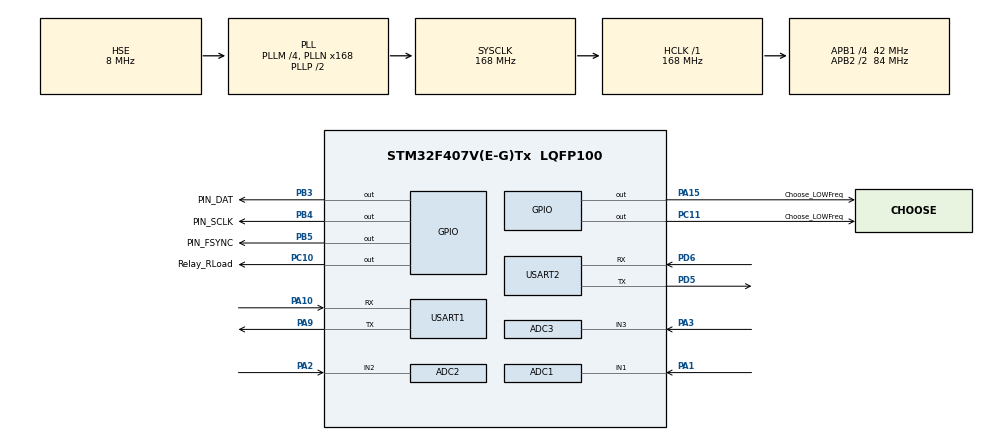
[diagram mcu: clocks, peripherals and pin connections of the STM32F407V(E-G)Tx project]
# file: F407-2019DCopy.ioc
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Mcu.Family=STM32F4
Dma.ADC2.2.FIFOMode=DMA_FIFOMODE_DISABLE
ADC2.ExternalTrigConv=ADC_EXTERNALTRIGCONV_T2_TRGO
PH0-OSC_IN.Signal=RCC_OSC_IN
Dma.ADC2.2.Priority=DMA_PRIORITY_MEDIUM
RCC.CortexFreq_Value=168000000
ADC1.ContinuousConvMode=DISABLE
ADC2.Channel-0\#ChannelRegularConversion=ADC_CHANNEL_2
SH.ADCx_IN2.0=ADC2_IN2,IN2
PC10.Signal=GPIO_Output
ADC3.Channel-0\#ChannelRegularConversion=ADC_CHANNEL_3
RCC.SYSCLKSource=RCC_SYSCLKSOURCE_PLLCLK
ProjectManager.StackSize=0x400
Dma.ADC3.1.PeriphDataAlignment=DMA_PDATAALIGN_HALFWORD
PA15.GPIO_Label=Choose_LOWFreq
PB3.PinState=GPIO_PIN_SET
RCC.HCLKFreq_Value=168000000
SH.ADCx_IN3.0=ADC3_IN3,IN3
RCC.APB2TimFreq_Value=168000000
Dma.ADC1.0.Direction=DMA_PERIPH_TO_MEMORY
PB5.PinState=GPIO_PIN_SET
NVIC.DMA2_Stream0_IRQn=true\:0\:0\:false\:false\:true\:false\:true
Dma.ADC1.0.MemDataAlignment=DMA_MDATAALIGN_HALFWORD
RCC.AHBFreq_Value=168000000
PH0-OSC_IN.Mode=HSE-External-Oscillator
PD5.Mode=Asynchronous
ADC1.Channel-0\#ChannelRegularConversion=ADC_CHANNEL_1
RCC.HSE_VALUE=8000000
ADC3.ExternalTrigConv=ADC_EXTERNALTRIGCONV_T2_TRGO
PC14-OSC32_IN.Mode=LSE-External-Oscillator
PA14.Mode=Serial_Wire
Dma.ADC1.0.PeriphInc=DMA_PINC_DISABLE
PC11.GPIO_Label=Choose_LOWFreq
Dma.ADC2.2.Instance=DMA2_Stream2
ADC1.SamplingTime-0\#ChannelRegularConversion=ADC_SAMPLETIME_3CYCLES
PH1-OSC_OUT.Mode=HSE-External-Oscillator
Mcu.Package=LQFP100
Dma.ADC3.1.Direction=DMA_PERIPH_TO_MEMORY
Dma.ADC2.2.PeriphInc=DMA_PINC_DISABLE
USART2.VirtualMode=VM_ASYNC
Dma.ADC2.2.MemDataAlignment=DMA_MDATAALIGN_HALFWORD
ADC3.Rank-0\#ChannelRegularConversion=1
PA10.Signal=USART1_RX
PA15.Signal=GPIO_Output
ADC2.SamplingTime-0\#ChannelRegularConversion=ADC_SAMPLETIME_3CYCLES
ADC3.ClockPrescaler=ADC_CLOCK_SYNC_PCLK_DIV4
TIM2.TIM_MasterOutputTrigger=TIM_TRGO_UPDATE
RCC.APB2CLKDivider=RCC_HCLK_DIV2
SH.ADCx_IN1.0=ADC1_IN1,IN1
NVIC.DMA2_Stream2_IRQn=true\:0\:0\:false\:false\:true\:false\:true
PB5.GPIO_Label=PIN_FSYNC
Dma.Request2=ADC2
Dma.ADC2.2.MemInc=DMA_MINC_ENABLE
Dma.Request1=ADC3
RCC.APB1TimFreq_Value=84000000
Dma.ADC1.0.FIFOMode=DMA_FIFOMODE_DISABLE
ADC2.Rank-0\#ChannelRegularConversion=1
Dma.ADC2.2.PeriphDataAlignment=DMA_PDATAALIGN_HALFWORD
PD6.Signal=USART2_RX
Dma.Request0=ADC1
PB4.PinState=GPIO_PIN_SET
Dma.ADC3.1.Priority=DMA_PRIORITY_LOW
PB4.Signal=GPIO_Output
PA3.Signal=ADCx_IN3
PB3.GPIO_Label=PIN_DAT
ADC2.ClockPrescaler=ADC_CLOCK_SYNC_PCLK_DIV4
RCC.PLLSourceVirtual=RCC_PLLSOURCE_HSE
PC15-OSC32_OUT.Mode=LSE-External-Oscillator
Dma.ADC1.0.Instance=DMA2_Stream0
ADC1.Rank-0\#ChannelRegularConversion=1
PA10.Mode=Asynchronous
PC10.GPIO_Label=Relay_RLoad
PC11.Signal=GPIO_Output
PD5.Signal=USART2_TX
NVIC.DMA2_Stream1_IRQn=true\:0\:0\:false\:false\:true\:false\:true
RCC.APB1CLKDivider=RCC_HCLK_DIV4
PC14-OSC32_IN.Signal=RCC_OSC32_IN
PD6.Mode=Asynchronous
NVIC.USART2_IRQn=true\:0\:0\:false\:false\:true\:true\:true
PA13.Signal=SYS_JTMS-SWDIO
Dma.ADC1.0.PeriphDataAlignment=DMA_PDATAALIGN_HALFWORD
PA9.Mode=Asynchronous
ADC3.SamplingTime-0\#ChannelRegularConversion=ADC_SAMPLETIME_3CYCLES
ProjectManager.TargetToolchain=STM32CubeIDE
Dma.ADC1.0.Mode=DMA_NORMAL
Dma.ADC1.0.Priority=DMA_PRIORITY_HIGH
PA9.Signal=USART1_TX
Dma.ADC3.1.FIFOMode=DMA_FIFOMODE_DISABLE
PC15-OSC32_OUT.Signal=RCC_OSC32_OUT
PA1.Signal=ADCx_IN1
Dma.ADC3.1.Instance=DMA2_Stream1
board=custom
RCC.VCOOutputFreq_Value=336000000
RCC.APB2Freq_Value=84000000
PB4.GPIO_Label=PIN_SCLK
VP_TIM2_VS_ClockSourceINT.Mode=Internal
Dma.ADC2.2.Direction=DMA_PERIPH_TO_MEMORY
Dma.ADC3.1.MemDataAlignment=DMA_MDATAALIGN_HALFWORD
PH1-OSC_OUT.Signal=RCC_OSC_OUT
Dma.ADC3.1.MemInc=DMA_MINC_ENABLE
Dma.ADC3.1.PeriphInc=DMA_PINC_DISABLE
TIM2.Period=83
ADC1.NbrOfConversion=1
PA13.Mode=Serial_Wire
Dma.ADC3.1.Mode=DMA_NORMAL
Mcu.Name=STM32F407V(E-G)Tx
PA2.Signal=ADCx_IN2
ADC1.ExternalTrigConv=ADC_EXTERNALTRIGCONV_T2_TRGO
RCC.48MHZClocksFreq_Value=84000000
Dma.ADC2.2.Mode=DMA_NORMAL
PB3.Signal=GPIO_Output
RCC.SYSCLKFreq_VALUE=168000000
PB5.Signal=GPIO_Output
ADC1.master=1
ADC2.NbrOfConversionFlag=1
USART1.VirtualMode=VM_ASYNC
PA14.Signal=SYS_JTCK-SWCLK
Dma.ADC1.0.MemInc=DMA_MINC_ENABLE
ProjectManager.HeapSize=0x200
RCC.HSI_VALUE=16000000
NVIC.PriorityGroup=NVIC_PRIORITYGROUP_4
ADC1.NbrOfConversionFlag=1
RCC.PLLM=4
RCC.PLLN=168
TIM2.AutoReloadPreload=TIM_AUTORELOAD_PRELOAD_ENABLE
RCC.APB1Freq_Value=42000000
ADC3.NbrOfConversionFlag=1
ADC1.ClockPrescaler=ADC_CLOCK_SYNC_PCLK_DIV4

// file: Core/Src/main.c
/* USER CODE BEGIN Header */
/**
  ******************************************************************************
  * @file           : main.c
  * @brief          : Main program body
  ******************************************************************************
  * @attention
  *
  * <h2><center>&copy; Copyright (c) 2021 STMicroelectronics.
  * All rights reserved.</center></h2>
  *
  * This software component is licensed by ST under BSD 3-Clause license,
  * the "License"; You may not use this file except in compliance with the
  * License. You may obtain a copy of the License at:
  *                        opensource.org/licenses/BSD-3-Clause
  *
  ******************************************************************************
  */
/* USER CODE END Header */
#include "main.h"
#include "adc.h"
#include "dma.h"
#include "tim.h"
#include "usart.h"
#include "gpio.h"

/* USER CODE BEGIN Includes */
#include "ad9833.h"
#include "hmi.h"
#include <stdio.h>
#include <stdlib.h>
#include <math.h>
/* USER CODE END Includes */

/* USER CODE BEGIN PTD */

//ADC1 CH1 PA1
//ADC2 CH2 PA2
//ADC3 CH3 PA3
//usart1 PA9  PA10

/* USER CODE END PTD */

/* USER CODE BEGIN PV */
//extern DMA_HandleTypeDef hdma_adc1;
int flag_adc = 0;
struct adc_val {
	float maxx;
	float minn;
	float vpp;
	float ADCf[256];
	uint16_t ADCb[256];
} adc1, adc2, adc3off, adc3on;

float RL = 1963;
float gain1 = 0.0527, gain2 = 0.0579, gain3off = 5.1009, gain3on = 5.0885;

float Uin1, Uin2;
float Uo3AC, Uo3DC;
float Uo3ACRL;
unsigned int Rin, Rout, Gain;
int judgement=2, jud=8;
int divide;
/* USER CODE END PV */

void SystemClock_Config(void);
/* USER CODE BEGIN PFP */
void init_adc_val(uint8_t);
/* USER CODE END PFP */

/* USER CODE BEGIN 0 */

void get_vpp(int flag)
{
	init_adc_val(flag);
  switch (flag)
	{
		case 1:  //U1
		{
			HAL_ADC_Start_DMA(&hadc1,(uint32_t *)adc1.ADCb,256);
			while(!flag_adc)
			{
			}
			flag_adc = 0;
			for(uint16_t i=0;i<256;i++)
			{
				adc1.ADCf[i]=(float)(adc1.ADCb[i])/(float)(4096.0)*3;
				adc1.maxx = (adc1.maxx>adc1.ADCf[i]? adc1.maxx : adc1.ADCf[i]);
				adc1.minn = (adc1.minn<adc1.ADCf[i]? adc1.minn : adc1.ADCf[i]);
			}
			adc1.vpp=adc1.maxx-adc1.minn;
			break;
		}

		case 2: //U2
		{
			HAL_ADC_Start_DMA(&hadc2,(uint32_t *)adc2.ADCb,256);
						while(!flag_adc)
						{
						}
						flag_adc = 0;
			for(uint16_t i=0;i<256;i++)
			{
				adc2.ADCf[i]=(float)(adc2.ADCb[i])/(float)(4096.0)*3;
				adc2.maxx = (adc2.maxx>adc2.ADCf[i]? adc2.maxx : adc2.ADCf[i]);
				adc2.minn = (adc2.minn<adc2.ADCf[i]? adc2.minn : adc2.ADCf[i]);
			}
			adc2.vpp=adc2.maxx-adc2.minn;
			break;
		}

		case 3: //U3off
		{
			HAL_ADC_Start_DMA(&hadc3,(uint32_t *)adc3off.ADCb,256);
						while(!flag_adc)
						{
						}
						flag_adc = 0;
			for(uint16_t i=0;i<256;i++)
			{
				adc3off.ADCf[i]=(float)(adc3off.ADCb[i])/(float)(4096.0)*3;
				adc3off.maxx = (adc3off.maxx>adc3off.ADCf[i]? adc3off.maxx : adc3off.ADCf[i]);
				adc3off.minn = (adc3off.minn<adc3off.ADCf[i]? adc3off.minn : adc3off.ADCf[i]);
			}
			adc3off.vpp=adc3off.maxx-adc3off.minn;
			break;
		}

		case 4: //U3on
		{
			HAL_ADC_Start_DMA(&hadc3,(uint32_t *)adc3on.ADCb,256);
						while(!flag_adc)
						{
						}
						flag_adc = 0;
			for(uint16_t i=0;i<256;i++)
			{
				adc3on.ADCf[i]=(float)(adc3on.ADCb[i])/(float)(4096.0)*3;
				adc3on.maxx = (adc3on.maxx>adc3on.ADCf[i]? adc3on.maxx : adc3on.ADCf[i]);
				adc3on.minn = (adc3on.minn<adc3on.ADCf[i]? adc3on.minn : adc3on.ADCf[i]);
			}
			adc3on.vpp=adc3on.maxx-adc3on.minn;
			break;
		}
	}
	 return;
}

void HAL_ADC_ConvCpltCallback(ADC_HandleTypeDef* hadc)
{
	flag_adc = 1;
}//传输完成中断

void init_adc_val(uint8_t flag)
{
	switch(flag)
	{
		case 1:
			adc1.maxx = 0;
			adc1.minn = 999;
			break;
		case 2:
			adc2.maxx = 0;
			adc2.minn = 999;
			break;
		case 3:
			adc3off.maxx = 0;
			adc3off.minn = 999;
			break;
		case 4:
			adc3on.maxx = 0;
			adc3on.minn = 999;
			break;
	}
	return;
}

void getTrueADCResult(void)
{
	Uin1 = gain1 * adc1.vpp;
	Uin2 = gain2 * adc2.vpp;
	Uo3AC = gain3off * adc3off.vpp;
	Uo3DC = gain3off * adc3off.maxx - Uo3AC / 2;
	Uo3ACRL = gain3on * adc3on.vpp;
}

void getRinAndRoutAndGainResult(void)
{
	Rin = Uin2 / (Uin1 - Uin2) * 7500;
	Rout = (Uo3AC - Uo3ACRL) / Uo3ACRL * RL;
	Gain = Uo3AC / Uin2;
}

void getDetectNeed(void)
{
	Uo3AC = gain3off * adc3off.vpp;
	Uin1 = gain1 * adc1.vpp;
	Uin2 = gain2 * adc2.vpp;
	Uo3DC = gain3off * adc3off.maxx - Uo3AC / 2;
	Rin = Uin2 / (Uin1 - Uin2) * 7500;
}

void getScanNeed()
{
	Uin2 = gain2 * adc2.vpp;
	Uo3AC = gain3off * adc3off.vpp;
	Gain = Uo3AC / Uin2;
	}

void averageDetet()
{
	unsigned int aveRin = 0;
	const int cir = 1;
	for(uint8_t i = 0; i < cir; i++)
	{
		HAL_Delay(1000);
		get_vpp(1);
		get_vpp(2);
		get_vpp(3);
		getDetectNeed();
		aveRin+=Rin;
	}
	Rin = aveRin/cir;
}

void checkError()
{
	AD9833_WaveSeting(1000,0,SIN_WAVE,0 );
	HMI_Send("page Detect");
	HAL_TIM_Base_Stop(&htim2);
	TIM2->ARR = 4000;
	HAL_TIM_Base_Start(&htim2);
	HAL_Delay(1000);

	RLoad_UnCarry;
	get_vpp(1);
	get_vpp(2);
	get_vpp(3);

	getDetectNeed();
	HAL_Delay(1000);

	if (Uo3DC > 8 || Uo3DC < 7)
	{
		if (Rin > 13000) HMI_Send("t0.txt=\"R1 open\"");
		else if (Rin > 7000) HMI_Send("t0.txt=\"R4 open\"");
		else if (Rin > 2000) HMI_Send("t0.txt=\"R3 short\"");
		else if(Uo3DC > 11)
		{
			if(Rin > 200)	HMI_Send("t0.txt=\"R1 short\"");
			else	HMI_Send("t0.txt=\"R2 short\"");
		}
		else if(Uo3DC > 4)	HMI_Send("t0.txt=\"R2 open\"");
		else if(Rin > 185)	HMI_Send("t0.txt=\"R3 open\"");
		else HMI_Send("t0.txt=\"R4 short\"");
	}
	else if (Rin < 2700 || Rin > 3000)
	{
		if (Rin < 0 || Rin > 50000) HMI_Send("t0.txt=\"C1 open\"");
		else if(Rin > 7000)	HMI_Send("t0.txt=\"C2 open\"");
		else HMI_Send("t0.txt=\"C2 double\"");
	}
	else
	{
		AD9833_WaveSeting(300000,0,SIN_WAVE,0 );
		HAL_TIM_Base_Stop(&htim2);
		TIM2->ARR = 93;//200000   68
		HAL_TIM_Base_Start(&htim2);
//		get_vpp(1);
//		get_vpp(2);
//		get_vpp(3);
//		getDetectNeed();
		averageDetet();
		if (Rin < 1000)
		{
			AD9833_WaveSeting(30,0,SIN_WAVE,0 );
			HAL_TIM_Base_Stop(&htim2);
			TIM2->ARR = 300000;//
			HAL_TIM_Base_Start(&htim2);
//			get_vpp(1);
//			get_vpp(2);
//			get_vpp(3);
//			getDetectNeed();
			averageDetet();
			if (Rin > 9350)  HMI_Send("t0.txt=\"C3 open\"");
			else HMI_Send("t0.txt=\"C1 double\"");
		}
		else
		{
			HMI_Send("t0.txt=\"C3 double\"");
		}
	}
	HAL_Delay(2000);
}

void getvalue()
{
	  HAL_TIM_Base_Stop(&htim2);
	  TIM2->ARR = 4000;
	  HAL_TIM_Base_Start(&htim2);
	  AD9833_WaveSeting(1000,0,SIN_WAVE,0 );

	  RLoad_UnCarry;
	  HAL_Delay(2000);
	  get_vpp(1);
	  get_vpp(2);
	  get_vpp(3);

	  RLoad_Carry;
	  HAL_Delay(2000);
	  get_vpp(4);
	  getTrueADCResult();

	  getRinAndRoutAndGainResult();

	  //HAL_Delay(2000);

	  int Conv;
	  HMI_Send("page Character");
	  HAL_Delay(1000);

	  Conv = ceil(adc1.vpp);
	  HMI_Send("t0.txt=\"Uin1=%d\"",Conv);
	  HAL_Delay(1000);
	  Conv = ceil(adc2.vpp);
	  HMI_Send("t1.txt=\"Uin2=%d\"",Conv);
	  HAL_Delay(1000);
	  Conv = ceil(adc3off.vpp);
	  HMI_Send("t2.txt=\"Uo3AC=%d\"",Conv);
	  HAL_Delay(1000);
	  Conv =ceil(adc3on.vpp);
	  HMI_Send("t3.txt=\"Uo3ACRL=%d\"",Conv);
	  HAL_Delay(1000);
	  Conv =ceil(Uo3DC);
	  HMI_Send("t4.txt=\"Uo3DC=%d\"",Conv);
	  HAL_Delay(4000);

	  HMI_Send("t0.txt=\"Rin=%d\"",Rin);
	  HAL_Delay(1000);
	  HMI_Send("t1.txt=\"Rout=%d\"",Rout);
	  HAL_Delay(1000);
	  HMI_Send("t2.txt=\"Gain=%d\"",Gain);
	  HAL_Delay(4000);
}

void ScanFreq()
{
	int Freq=30, Conv, Max=0, n=0, array[200], dB, Freq_HIGH=30, i;
	HMI_Send("page Curve");//
	HMI_Send("cle 1,0");
	RLoad_UnCarry;
	 while(Freq<291000)
	 {
		 AD9833_WaveSeting(Freq,0,SIN_WAVE,0 );
		 HAL_TIM_Base_Stop(&htim2);
		 if(Freq<1000)
		 {
			 divide = 84000000/(10*Freq);
			 Freq+=100;
		 }//10
		 else if(Freq<100000)
		 {
		   divide = 84000000/(10*Freq);
		   Freq+=3000;
		 }//33
		 else if(Freq<160000)
		 {
			 divide = 84000000/(7*Freq);//7.3
			 Freq+=1000;
		 }//60
		 else if(Freq<200000)
		 {
			 divide = 84000000/(5.3*Freq);//6.5
			 Freq+=2000;
		 }//30
		 else if(Freq<240000)
		  {
		 	divide = 84000000/(4.6*Freq);
		 	Freq+=3000;
		 }//27
		 else
		 {
			 divide = 84000000/(4*Freq);
			 Freq+=3000;
		 }
		 TIM2->ARR = divide;
		 HAL_TIM_Base_Start(&htim2);
		 get_vpp(2);
		 get_vpp(3);
		 getScanNeed();
		 Conv = Gain;
		 Max = (Max > Conv? Max : Conv);
		 HMI_Send("add 1,0,%d",Conv);
		 array[n] = Conv;
		 n++;
	 }

	 dB = 0.707*Max;
	 for(i=0;i<n;i++)
	 {
		 if(i>0 && Freq_HIGH<1000)
			 Freq_HIGH+=100;
		 else if(Freq_HIGH<100000)
			 Freq_HIGH+=3000;
		 else if(Freq_HIGH<160000)
		 	 Freq_HIGH+=1000;
		 else if(Freq_HIGH<220000)
		 	 Freq_HIGH+=2000;
		 else if(Freq_HIGH<300000)
		 	 Freq_HIGH+=3000;
		 if((array[i]-dB)<1 && (array[i]-dB)>-1)
		 {
			 HMI_Send("x0.val=%d",Freq_HIGH);
			 break;
		 }
	 }

	 HAL_Delay(4000);

}

void HAL_UART_RxCpltCallback(UART_HandleTypeDef *huart)
{
	if(huart->Instance == USART2)
	{
		if(jud == 17)
		{
			judgement=0;
			HAL_UART_Receive_IT(&huart2, (uint8_t *)&jud, 1);//�?要重新接受上位机发来的数�?
		}
		else if(jud == 34)
		{
			judgement=1;
			HAL_UART_Receive_IT(&huart2, (uint8_t *)&jud, 1);//�?要重新接受上位机发来的数�?
		}
	}
}

/* USER CODE END 0 */

int main(void)
{

  /* MCU Configuration--------------------------------------------------------*/

  /* Reset of all peripherals, Initializes the Flash interface and the Systick. */
  HAL_Init();

  /* Configure the system clock */
  SystemClock_Config();

  /* Initialize all configured peripherals */
  MX_GPIO_Init();
  MX_DMA_Init();
  MX_ADC1_Init();
  MX_ADC3_Init();
  MX_USART1_UART_Init();
  MX_ADC2_Init();
  MX_USART2_UART_Init();
  MX_TIM2_Init();
  /* USER CODE BEGIN 2 */
  HMI_Send("page Begin");
  HAL_UART_Receive_IT(&huart2, (uint8_t *)&jud, 1);
  HAL_TIM_Base_Start(&htim2);//以上为初始化

  //freq=1KHZ   ARR=4000
  //freq=200KHZ   ARR=83
  //freq=30HZ   ARR=420000-1

  /* USER CODE END 2 */

  /* Infinite loop */
  /* USER CODE BEGIN WHILE */

  while (1)
  {
	  //
	  if(judgement==0)
	  {
		  getvalue();
		  ScanFreq();
		  judgement=2;
		  HMI_Send("page Begin");
	  }
	  else if(judgement==1)
	  {
		  checkError();
		  judgement=2;
		  HMI_Send("page Begin");
	  }

    /* USER CODE END WHILE */

  }
}

void SystemClock_Config(void)
{
  RCC_OscInitTypeDef RCC_OscInitStruct = {0};
  RCC_ClkInitTypeDef RCC_ClkInitStruct = {0};

  /** Configure the main internal regulator output voltage
  */
  __HAL_RCC_PWR_CLK_ENABLE();
  __HAL_PWR_VOLTAGESCALING_CONFIG(PWR_REGULATOR_VOLTAGE_SCALE1);
  /** Initializes the RCC Oscillators according to the specified parameters
  * in the RCC_OscInitTypeDef structure.
  */
  RCC_OscInitStruct.OscillatorType = RCC_OSCILLATORTYPE_HSE;
  RCC_OscInitStruct.HSEState = RCC_HSE_ON;
  RCC_OscInitStruct.PLL.PLLState = RCC_PLL_ON;
  RCC_OscInitStruct.PLL.PLLSource = RCC_PLLSOURCE_HSE;
  RCC_OscInitStruct.PLL.PLLM = 4;
  RCC_OscInitStruct.PLL.PLLN = 168;
  RCC_OscInitStruct.PLL.PLLP = RCC_PLLP_DIV2;
  RCC_OscInitStruct.PLL.PLLQ = 4;
  if (HAL_RCC_OscConfig(&RCC_OscInitStruct) != HAL_OK)
  {
    Error_Handler();
  }
  /** Initializes the CPU, AHB and APB buses clocks
  */
  RCC_ClkInitStruct.ClockType = RCC_CLOCKTYPE_HCLK|RCC_CLOCKTYPE_SYSCLK
                              |RCC_CLOCKTYPE_PCLK1|RCC_CLOCKTYPE_PCLK2;
  RCC_ClkInitStruct.SYSCLKSource = RCC_SYSCLKSOURCE_PLLCLK;
  RCC_ClkInitStruct.AHBCLKDivider = RCC_SYSCLK_DIV1;
  RCC_ClkInitStruct.APB1CLKDivider = RCC_HCLK_DIV4;
  RCC_ClkInitStruct.APB2CLKDivider = RCC_HCLK_DIV2;

  if (HAL_RCC_ClockConfig(&RCC_ClkInitStruct, FLASH_LATENCY_5) != HAL_OK)
  {
    Error_Handler();
  }
}

void Error_Handler(void)
{
  __disable_irq();
  while (1)
  {
  }
}

/************************ (C) COPYRIGHT STMicroelectronics *****END OF FILE****/
